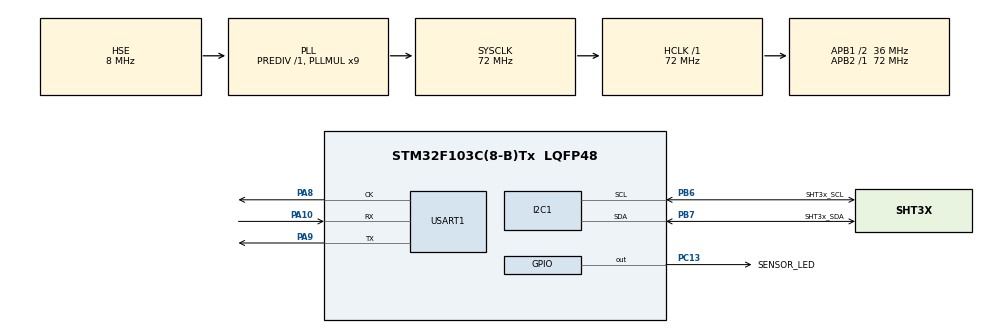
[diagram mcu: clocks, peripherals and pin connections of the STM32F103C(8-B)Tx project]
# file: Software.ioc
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I2C1.I2C_Mode=I2C_Fast
Mcu.Family=STM32F1
Mcu.Name=STM32F103C(8-B)Tx
Mcu.Package=LQFP48
NVIC.PriorityGroup=NVIC_PRIORITYGROUP_4
PA10.Mode=Synchronous
PA10.Signal=USART1_RX
PA13.Mode=Serial_Wire
PA13.Signal=SYS_JTMS-SWDIO
PA14.Mode=Serial_Wire
PA14.Signal=SYS_JTCK-SWCLK
PA8.Mode=Synchronous
PA8.Signal=USART1_CK
PA9.Mode=Synchronous
PA9.Signal=USART1_TX
PB6.GPIO_Label=SHT3x_SCL
PB6.Mode=I2C
PB6.Signal=I2C1_SCL
PB7.GPIO_Label=SHT3x_SDA
PB7.Mode=I2C
PB7.Signal=I2C1_SDA
PC13-TAMPER-RTC.GPIO_Label=SENSOR_LED
PC13-TAMPER-RTC.GPIO_Speed=GPIO_SPEED_FREQ_HIGH
PC13-TAMPER-RTC.PinState=GPIO_PIN_SET
PC13-TAMPER-RTC.Signal=GPIO_Output
PC14-OSC32_IN.Mode=LSE-External-Oscillator
PC14-OSC32_IN.Signal=RCC_OSC32_IN
PC15-OSC32_OUT.Mode=LSE-External-Oscillator
PC15-OSC32_OUT.Signal=RCC_OSC32_OUT
PD0-OSC_IN.Mode=HSE-External-Oscillator
PD0-OSC_IN.Signal=RCC_OSC_IN
PD1-OSC_OUT.Mode=HSE-External-Oscillator
PD1-OSC_OUT.Signal=RCC_OSC_OUT
ProjectManager.HeapSize=0x200
ProjectManager.StackSize=0x400
ProjectManager.TargetToolchain=STM32CubeIDE
RCC.AHBFreq_Value=72000000
RCC.APB1CLKDivider=RCC_HCLK_DIV2
RCC.APB1Freq_Value=36000000
RCC.APB1TimFreq_Value=72000000
RCC.APB2Freq_Value=72000000
RCC.APB2TimFreq_Value=72000000
RCC.HCLKFreq_Value=72000000
RCC.PLLMUL=RCC_PLL_MUL9
RCC.PLLSourceVirtual=RCC_PLLSOURCE_HSE
RCC.SYSCLKFreq_VALUE=72000000
RCC.SYSCLKSource=RCC_SYSCLKSOURCE_PLLCLK
RCC.USBFreq_Value=48000000
RCC.USBPrescaler=RCC_USBCLKSOURCE_PLL_DIV1_5
USART1.VirtualMode=VM_SYNC
board=custom

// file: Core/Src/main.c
/* USER CODE BEGIN Header */
/**
  ******************************************************************************
  * @file           : main.c
  * @brief          : Main program body
  ******************************************************************************
  * @attention
  *
  * Copyright (c) 2024 STMicroelectronics.
  * All rights reserved.
  *
  * This software is licensed under terms that can be found in the LICENSE file
  * in the root directory of this software component.
  * If no LICENSE file comes with this software, it is provided AS-IS.
  *
  ******************************************************************************
  */
/* USER CODE END Header */
#include "main.h"

/* USER CODE BEGIN Includes */
#include "../../BSP/Inc/GPIO_LED.h"
#include "../../BSP/Inc/Sensor_SHT3x.h"
/* USER CODE END Includes */

/* USER CODE BEGIN PM */
#ifdef __GNUC__
/* With GCC, smal printf (option LD Linker->Libraries->Small printf
   set to 'Yes') calls __io_putchar() */
#define PUTCHAR_PROTOTYPE int __io_putchar(int ch)
#else
#define PUTCHAR_PROTOTYPE int fputc(int ch, FILE *f)
#endif /* __GNUC__ */
/* USER CODE END PM */

I2C_HandleTypeDef hi2c1;

USART_HandleTypeDef husart1;

/* USER CODE BEGIN PV */
/**
 * @brief Retargets the C library printf function to the USART.
 * @param None
 * @retval None
 */
PUTCHAR_PROTOTYPE {
  HAL_USART_Transmit(&husart1, (uint8_t *)&ch, 1, 0xFFFF);

  return ch;
}
/* USER CODE END PV */

void SystemClock_Config(void);
static void MX_GPIO_Init(void);
static void MX_I2C1_Init(void);
static void MX_USART1_Init(void);

int main(void)
{

  /* USER CODE BEGIN 1 */
  uint8_t recvData[6] = {0};
  float temperature = 0.0;
  float humidity = 0.0;
  /* USER CODE END 1 */

  /* MCU Configuration--------------------------------------------------------*/

  /* Reset of all peripherals, Initializes the Flash interface and the Systick. */
  HAL_Init();

  /* Configure the system clock */
  SystemClock_Config();

  /* Initialize all configured peripherals */
  MX_GPIO_Init();
  MX_I2C1_Init();
  MX_USART1_Init();
  /* USER CODE BEGIN 2 */
  SHT3x_Reset();
  if (HAL_OK == SHT3x_Init()) {
    printf("SHT3x init successfully\n");
  }
  else {
    printf("SHT3x init failed\n");
  }
  /* USER CODE END 2 */

  /* Infinite loop */
  while (1)
  {

    /* USER CODE BEGIN 3 */
    HAL_Delay(1000);
    HAL_GPIO_TogglePin(SENSOR_LED_GPIO_Port, SENSOR_LED_Pin);

    if (HAL_OK == SHT3x_ReadSensorData(recvData)) {
      if (HAL_OK == SHT3x_GetTemperatureAndHumidity(recvData, &temperature, &humidity)) {
        printf("temperature = %f, humidity = %f\n", temperature, humidity);
      }
      else {
        printf("Fail to receive data from SHT3x. CRC-8 check failed\n");
      }
    }
    else {
      printf("Fail to read data from SHT3x\n");
    }
  }
  /* USER CODE END 3 */
}

void SystemClock_Config(void)
{
  RCC_OscInitTypeDef RCC_OscInitStruct = {0};
  RCC_ClkInitTypeDef RCC_ClkInitStruct = {0};

  /** Initializes the RCC Oscillators according to the specified parameters
  * in the RCC_OscInitTypeDef structure.
  */
  RCC_OscInitStruct.OscillatorType = RCC_OSCILLATORTYPE_HSE;
  RCC_OscInitStruct.HSEState = RCC_HSE_ON;
  RCC_OscInitStruct.HSEPredivValue = RCC_HSE_PREDIV_DIV1;
  RCC_OscInitStruct.HSIState = RCC_HSI_ON;
  RCC_OscInitStruct.PLL.PLLState = RCC_PLL_ON;
  RCC_OscInitStruct.PLL.PLLSource = RCC_PLLSOURCE_HSE;
  RCC_OscInitStruct.PLL.PLLMUL = RCC_PLL_MUL9;
  if (HAL_RCC_OscConfig(&RCC_OscInitStruct) != HAL_OK)
  {
    Error_Handler();
  }

  /** Initializes the CPU, AHB and APB buses clocks
  */
  RCC_ClkInitStruct.ClockType = RCC_CLOCKTYPE_HCLK|RCC_CLOCKTYPE_SYSCLK
                              |RCC_CLOCKTYPE_PCLK1|RCC_CLOCKTYPE_PCLK2;
  RCC_ClkInitStruct.SYSCLKSource = RCC_SYSCLKSOURCE_PLLCLK;
  RCC_ClkInitStruct.AHBCLKDivider = RCC_SYSCLK_DIV1;
  RCC_ClkInitStruct.APB1CLKDivider = RCC_HCLK_DIV2;
  RCC_ClkInitStruct.APB2CLKDivider = RCC_HCLK_DIV1;

  if (HAL_RCC_ClockConfig(&RCC_ClkInitStruct, FLASH_LATENCY_2) != HAL_OK)
  {
    Error_Handler();
  }
}

static void MX_I2C1_Init(void)
{

  hi2c1.Instance = I2C1;
  hi2c1.Init.ClockSpeed = 400000;
  hi2c1.Init.DutyCycle = I2C_DUTYCYCLE_2;
  hi2c1.Init.OwnAddress1 = 0;
  hi2c1.Init.AddressingMode = I2C_ADDRESSINGMODE_7BIT;
  hi2c1.Init.DualAddressMode = I2C_DUALADDRESS_DISABLE;
  hi2c1.Init.OwnAddress2 = 0;
  hi2c1.Init.GeneralCallMode = I2C_GENERALCALL_DISABLE;
  hi2c1.Init.NoStretchMode = I2C_NOSTRETCH_DISABLE;
  if (HAL_I2C_Init(&hi2c1) != HAL_OK)
  {
    Error_Handler();
  }

}

static void MX_USART1_Init(void)
{

  husart1.Instance = USART1;
  husart1.Init.BaudRate = 115200;
  husart1.Init.WordLength = USART_WORDLENGTH_8B;
  husart1.Init.StopBits = USART_STOPBITS_1;
  husart1.Init.Parity = USART_PARITY_NONE;
  husart1.Init.Mode = USART_MODE_TX_RX;
  husart1.Init.CLKPolarity = USART_POLARITY_LOW;
  husart1.Init.CLKPhase = USART_PHASE_1EDGE;
  husart1.Init.CLKLastBit = USART_LASTBIT_DISABLE;
  if (HAL_USART_Init(&husart1) != HAL_OK)
  {
    Error_Handler();
  }

}

static void MX_GPIO_Init(void)
{
  GPIO_InitTypeDef GPIO_InitStruct = {0};

  /* GPIO Ports Clock Enable */
  __HAL_RCC_GPIOC_CLK_ENABLE();
  __HAL_RCC_GPIOD_CLK_ENABLE();
  __HAL_RCC_GPIOA_CLK_ENABLE();
  __HAL_RCC_GPIOB_CLK_ENABLE();

  /*Configure GPIO pin Output Level */
  HAL_GPIO_WritePin(SENSOR_LED_GPIO_Port, SENSOR_LED_Pin, GPIO_PIN_SET);

  /*Configure GPIO pin : SENSOR_LED_Pin */
  GPIO_InitStruct.Pin = SENSOR_LED_Pin;
  GPIO_InitStruct.Mode = GPIO_MODE_OUTPUT_PP;
  GPIO_InitStruct.Pull = GPIO_NOPULL;
  GPIO_InitStruct.Speed = GPIO_SPEED_FREQ_HIGH;
  HAL_GPIO_Init(SENSOR_LED_GPIO_Port, &GPIO_InitStruct);

}

void Error_Handler(void)
{
  __disable_irq();
  while (1)
  {
  }
}
